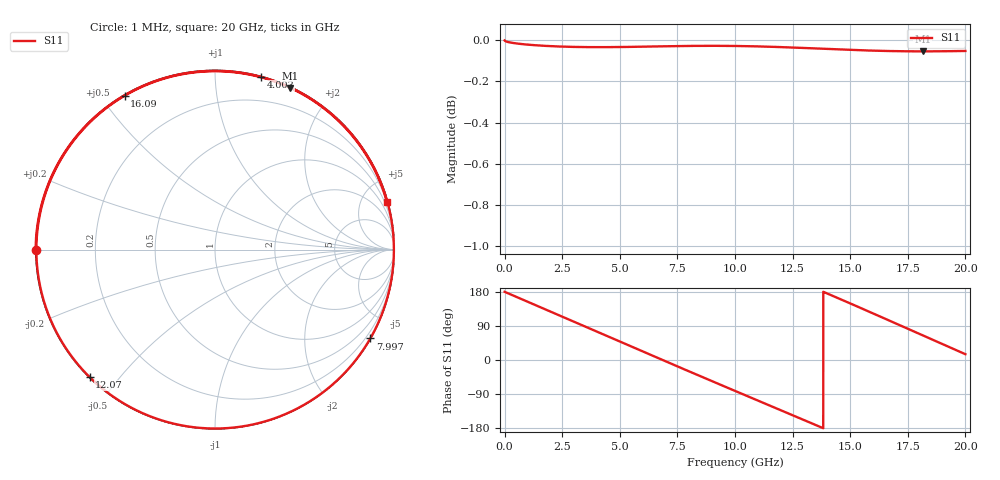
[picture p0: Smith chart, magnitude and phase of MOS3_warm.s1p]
# GHz S RI R 50
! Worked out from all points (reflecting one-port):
!   10001 points, 1 MHz to 20 GHz, reference 50 ohm
!   lowest |S11| = -0.1 dB at 18.15 GHz (marker M1), VSWR 323.52, Z = 0.536 + j78.5 ohm
!   phase of S11 starts at 180 deg and turns -525 deg over the sweep
!   S11 on the Smith chart (normalised r, x): 1 MHz: 0.00, +0.00; 4.003 GHz: 0.01, +1.30; 7.997 GHz: 0.02, -3.76; 12.07 GHz: 0.00, -0.42; 16.09 GHz: 0.00, +0.57; 20 GHz: 0.17, +7.44
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0.001  -0.9999 0.000532
0.587  -0.9624 0.2647
1.181  -0.856 0.512
1.871  -0.6551 0.7513
2.501  -0.4147 0.9061
3.257  -0.0826 0.9928
4.003  0.2556 0.9628
5.001  0.6558 0.75
5.661  0.8501 0.5197
6.283  0.9622 0.2592
6.891  0.9965 -0.0153
7.501  0.9541 -0.2887
7.997  0.8654 -0.4948
9.045  0.5444 -0.8352
10.001  0.1474 -0.9859
11.011  -0.2974 -0.9512
12.073  -0.699 -0.7098
12.501  -0.8213 -0.5634
13.143  -0.9474 -0.306
13.763  -0.9948 -0.0316
14.377  -0.9645 0.2444
15.001  -0.8558 0.507
16.089  -0.5032 0.8575
16.805  -0.1927 0.9751
17.501  0.1314 0.9852
18.147  0.4206 0.9004
19.135  0.7791 0.6171
20.001  0.9588 0.2623
